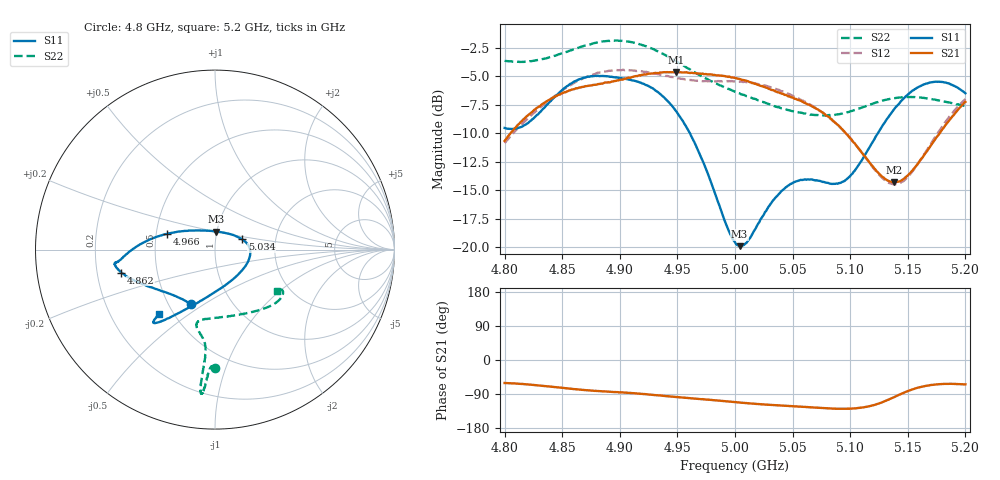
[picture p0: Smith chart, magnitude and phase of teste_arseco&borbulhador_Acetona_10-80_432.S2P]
! Network Analyzer HP8722D
! Hewlett-Packard
! Data name: Linha & Wilkinson
! Saver's name: Rodrigo Anjos
! Comments: Teste da utilização de aquisição
! continua pelo VNA HP8722D
! Time and date: 17/4/2025 17:57
!  Frequency  S11  S21  S12  S22
# HZ  S  MA R 50
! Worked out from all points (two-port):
!   401 points, 4.8 GHz to 5.2 GHz, reference 50 ohm
!   highest |S21| = -4.63 dB at 4.949 GHz (marker M1); lowest = -14.3 dB at 5.138 GHz (marker M2)
!   |S21| within 3 dB of the highest: 4.83 GHz to 5.067 GHz (236.2 MHz wide, 4.77 % of centre); 5.19629 GHz to end of sweep
!   lowest |S11| = -19.9 dB at 5.004 GHz (marker M3), VSWR 1.22, Z = 49.8 + j10.1 ohm
!   |S11| at or under -10 dB: 4.961 GHz to 5.124 GHz (163.3 MHz wide, 3.24 % of centre)
!   |S22| runs from -8.5 to -1.9 dB; largest |S21 - S12| = 0.88
!   S11 on the Smith chart (normalised r, x): 4.8 GHz: 0.65, -0.44; 4.862 GHz: 0.30, -0.11; 4.966 GHz: 0.57, +0.11; 5.034 GHz: 1.35, +0.16; 5.2 GHz: 0.42, -0.39
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4.8e9  0.3333 -113.5  0.2923 -60.7  0.2861 -175.0  0.6578 -90.0
4.819e9  0.3472 -133.6  0.3739 -64.1  0.3615 -173.7  0.6522 -91.7
4.862e9  0.5373 -166.3  0.498 -77.1  0.5312 -177.1  0.745 -93.9
4.867e9  0.549 -168.2  0.5041 -78.7  0.5458 -177.9  0.7581 -94.0
4.9e9  0.5528 -172.7  0.5414 -85.2  0.5983 175.5  0.8044 -95.4
4.934e9  0.4748 -178.9  0.5805 -93.5  0.5734 171.9  0.7183 -95.9
4.949e9  0.3942 173.8  0.5867 -97.4  0.5538 172.0  0.6535 -95.6
4.966e9  0.2794 161.6  0.5793 -102.0  0.5374 173.8  0.581 -95.1
5e9  0.1049 99.0  0.5525 -111.2  0.5338 176.1  0.4809 -99.4
5.004e9  0.1009 85.4  0.5464 -112.1  0.5318 176.1  0.4727 -100.3
5.012e9  0.1079 60.0  0.532 -114.3  0.5279 175.9  0.4559 -102.0
5.034e9  0.1622 20.9  0.486 -119.2  0.4973 174.8  0.4158 -103.6
5.05e9  0.1912 4.5  0.4539 -121.9  0.4619 174.1  0.3951 -99.6
5.067e9  0.1978 -13.7  0.4145 -125.1  0.4176 173.5  0.3808 -90.5
5.085e9  0.1893 -42.1  0.3582 -128.3  0.3573 173.6  0.3806 -77.0
5.097e9  0.1987 -66.7  0.3125 -128.7  0.3125 174.7  0.3901 -67.2
5.134e9  0.3773 -116.9  0.1945 -103.7  0.1908 -156.6  0.4464 -43.0
5.138e9  0.4017 -119.2  0.1921 -98.1  0.1886 -150.3  0.4502 -41.2
5.151e9  0.4709 -124.9  0.2088 -80.9  0.2061 -130.3  0.456 -36.4
5.17e9  0.5286 -129.3  0.2792 -66.1  0.2844 -112.2  0.4466 -32.0
5.184e9  0.5249 -130.6  0.3502 -63.0  0.3615 -107.2  0.4329 -31.0
5.2e9  0.4732 -131.0  0.4338 -64.4  0.4465 -106.6  0.4161 -33.5
